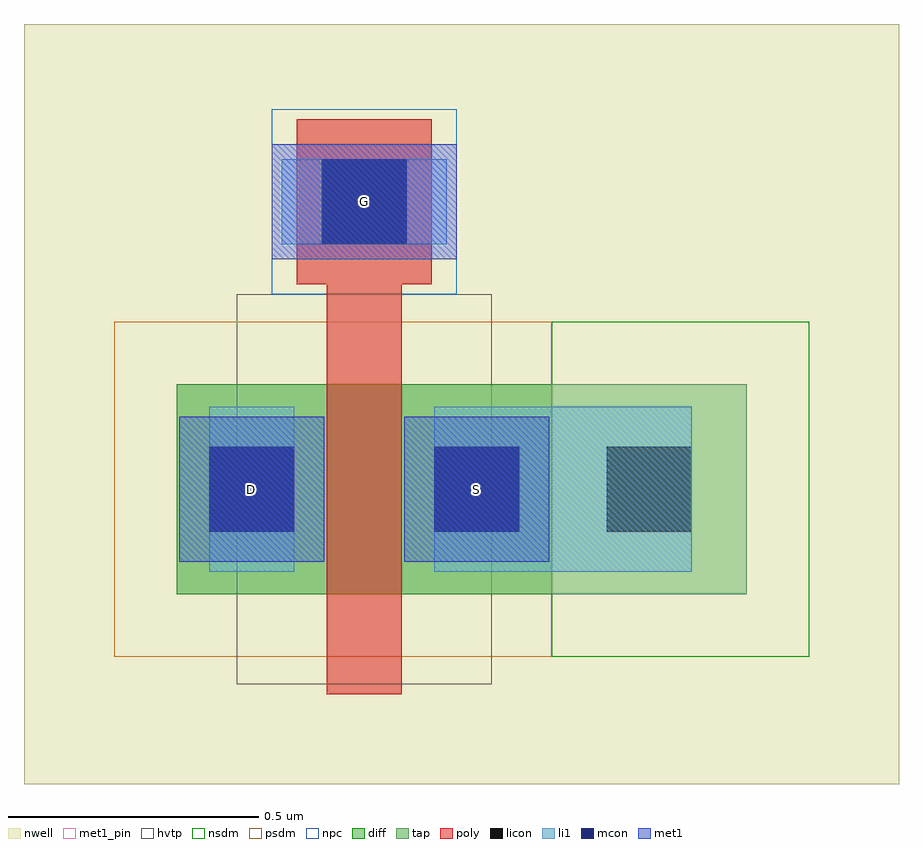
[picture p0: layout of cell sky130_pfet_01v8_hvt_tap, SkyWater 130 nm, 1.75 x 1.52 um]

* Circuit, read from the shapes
.subckt sky130_pfet_01v8_hvt_tap D G S
XM1 S G D S sky130_fd_pr__pfet_01v8_hvt w=0.42 l=0.15
.ends

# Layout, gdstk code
import gdstk
lib = gdstk.Library(unit=1e-6, precision=1e-09)
def R(c, l, rs):  # rectangles x0, y0, x1, y1
    for r in rs: c.add(gdstk.rectangle(r[:2], r[2:], *l))
nwell = (64, 20)
diff = (65, 20)
tap = (65, 44)
poly = (66, 20)
licon = (66, 44)
li1 = (67, 20)
mcon = (67, 44)
met1_pin = (68, 16)
met1 = (68, 20)
hvtp = (78, 44)
nsdm = (93, 44)
psdm = (94, 20)
npc = (95, 20)

pfet = lib.new_cell('pfet')
R(pfet, nwell, [(-0.305,-0.38,1.445,1.14)])
R(pfet, diff, [(0,0,0.75,0.42)])
R(pfet, tap, [(0.75,0,1.14,0.42)])
R(pfet, poly, [(0.3,-0.2,0.45,0.62), (0.24,0.62,0.51,0.95)])
R(pfet, licon, [(0.065,0.125,0.235,0.295), (0.515,0.125,0.685,0.295), (0.86,0.125,1.03,0.295), (0.29,0.7,0.46,0.87)])
R(pfet, li1, [(0.065,0.045,0.235,0.375), (0.515,0.045,0.685,0.375), (0.86,0.045,1.03,0.375), (0.21,0.7,0.54,0.87)])
R(pfet, mcon, [(0.065,0.125,0.235,0.295), (0.515,0.125,0.685,0.295), (0.29,0.7,0.46,0.87)])
R(pfet, met1, [(0.005,0.065,0.295,0.355), (0.455,0.065,0.745,0.355), (0.19,0.67,0.56,0.9)])
R(pfet, hvtp, [(0.12,-0.18,0.63,0.6)])
R(pfet, nsdm, [(0.75,-0.125,1.265,0.545)])
R(pfet, psdm, [(-0.125,-0.125,0.75,0.545)])
R(pfet, npc, [(0.23,0.61,0.52,0.96)])

sky130_pfet_01v8_hvt_tap = lib.new_cell('sky130_pfet_01v8_hvt_tap')
R(sky130_pfet_01v8_hvt_tap, li1, [(0.685,0.045,0.86,0.375)])
R(sky130_pfet_01v8_hvt_tap, met1_pin, [(0.065,0.125,0.235,0.295), (0.515,0.125,0.685,0.295), (0.29,0.7,0.46,0.87)])
R(sky130_pfet_01v8_hvt_tap, npc, [(0.19,0.6,0.56,0.97)])
sky130_pfet_01v8_hvt_tap.add(gdstk.Reference(pfet, (0,0)))
sky130_pfet_01v8_hvt_tap.add(gdstk.Label('D', (0.15,0.21), layer=68, texttype=5))
sky130_pfet_01v8_hvt_tap.add(gdstk.Label('S', (0.6,0.21), layer=68, texttype=5))
sky130_pfet_01v8_hvt_tap.add(gdstk.Label('G', (0.375,0.785), layer=68, texttype=5))

lib.write_gds('sky130_pfet_01v8_hvt_tap.gds')
